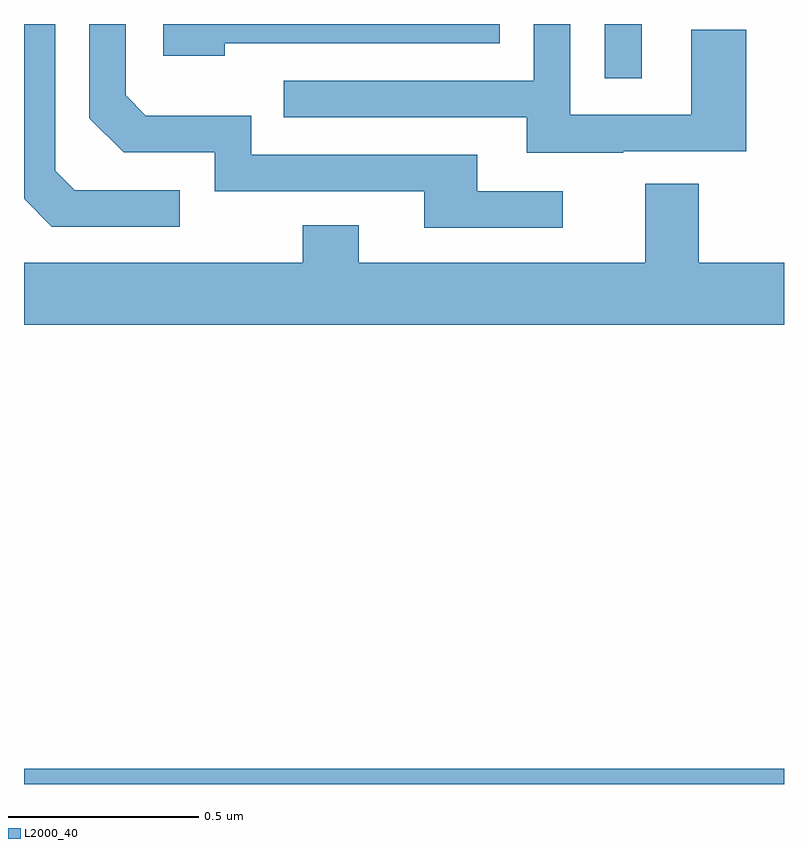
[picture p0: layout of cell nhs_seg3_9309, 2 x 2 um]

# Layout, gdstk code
import gdstk
lib = gdstk.Library(unit=1e-6, precision=1e-09)
def R(c, l, rs):  # rectangles x0, y0, x1, y1
    for r in rs: c.add(gdstk.rectangle(r[:2], r[2:], *l))
def P(c, l, *ps):  # polygons
    for p in ps: c.add(gdstk.Polygon(p, *l))
L2000_40 = (2000, 40)

nhs_seg3_9309 = lib.new_cell('nhs_seg3_9309')
R(nhs_seg3_9309, L2000_40, [(227,674.4,229,674.44), (228.528,676.257,228.625,676.4)])
P(nhs_seg3_9309, L2000_40, [(228.418,675.96),(228.193,675.96),(228.193,676.056),(227.598,676.056),(227.598,676.159),(227.321,676.159),(227.268,676.212),(227.268,676.4),(227.172,676.4),(227.172,676.152),(227.262,676.062),(227.502,676.062),(227.502,675.96),(228.053,675.96),(228.053,675.864),(228.418,675.864)],
  [(227.528,676.35),(228.252,676.35),(228.252,676.4),(227.367,676.4),(227.367,676.316),(227.528,676.316)],
  [(227.41,675.963),(227.133,675.963),(227.082,676.014),(227.082,676.4),(227,676.4),(227,675.94),(227.073,675.867),(227.41,675.867)],
  [(228.577,676.065),(228.901,676.065),(228.901,676.385),(228.756,676.385),(228.756,676.161),(228.438,676.161),(228.438,676.4),(228.342,676.4),(228.342,676.251),(227.683,676.251),(227.683,676.155),(228.323,676.155),(228.323,676.061),(228.577,676.061)],
  [(229,675.772),(228.775,675.772),(228.775,675.98),(228.635,675.98),(228.635,675.772),(227.881,675.772),(227.881,675.871),(227.734,675.871),(227.734,675.772),(227,675.772),(227,675.608),(229,675.608)])

lib.write_gds('nhs_seg3_9309.gds')
